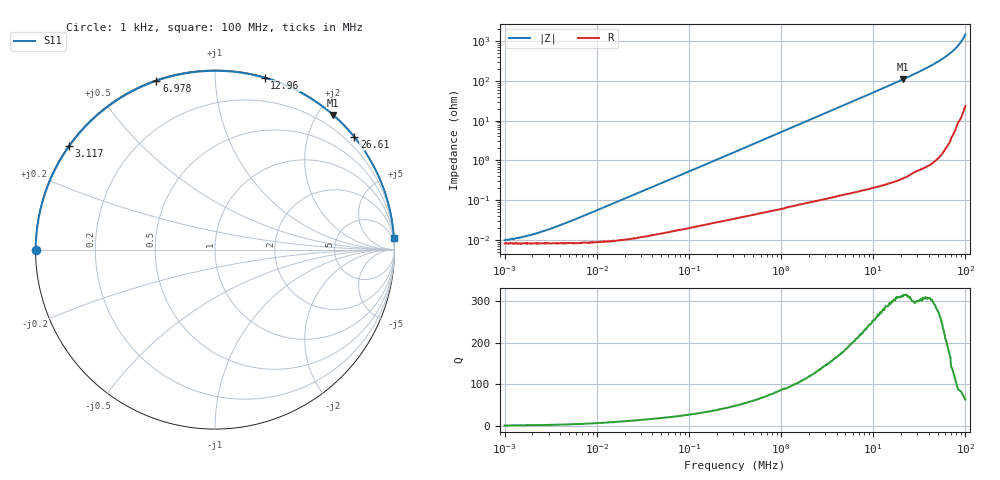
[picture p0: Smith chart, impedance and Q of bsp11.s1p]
! Testspule mit Imp.Analyzer gemessen
! 29.9.08 / nik
! Start bei 1kHz wegen R-Verlauf
#	KHZ	S	MA	R	50
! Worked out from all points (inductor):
!   801 points, 1 kHz to 100 MHz, reference 50 ohm
!   read as one part to ground: L = 867 nH near 4.403 kHz
!   highest Q = 313 at 21.13 MHz (marker M1), where L = 832 nH
!   S11 on the Smith chart (normalised r, x): 1 kHz: 0.00, +0.00; 3.117 MHz: 0.00, +0.32; 6.978 MHz: 0.00, +0.71; 12.96 MHz: 0.00, +1.33; 26.61 MHz: 0.01, +2.83; 100 MHz: 0, +30
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1  0.9997 180.0
4.278091  0.9997 179.9
18.04056  0.9996 179.8
74.98942  0.9993 179.1
170.3139  0.999 178.0
320.8116  0.9986 176.2
486.9675  0.9983 174.3
707.9458  0.998 171.7
985.7119  0.9977 168.5
1352.851  0.9972 164.2
2144.125  0.9966 155.3
3117.095  0.9961 144.7
4216.965  0.9957 133.5
4869.675  0.9956 127.2
5623.413  0.9956 120.4
6978.306  0.9956 109.1
8175.23  0.9958 100.3
9577.452  0.9959 91.2
11059.87  0.9962 82.9
12956.87  0.9966 73.9
16788.04  0.9972 59.9
21134.89  0.9976 48.7
23713.74  0.9978 43.6
26607.25  0.9979 38.9
34474.66  0.9984 29.5
46639.08  0.9988 20.5
68785.99  0.9988 11.3
100000  0.9989 3.9
